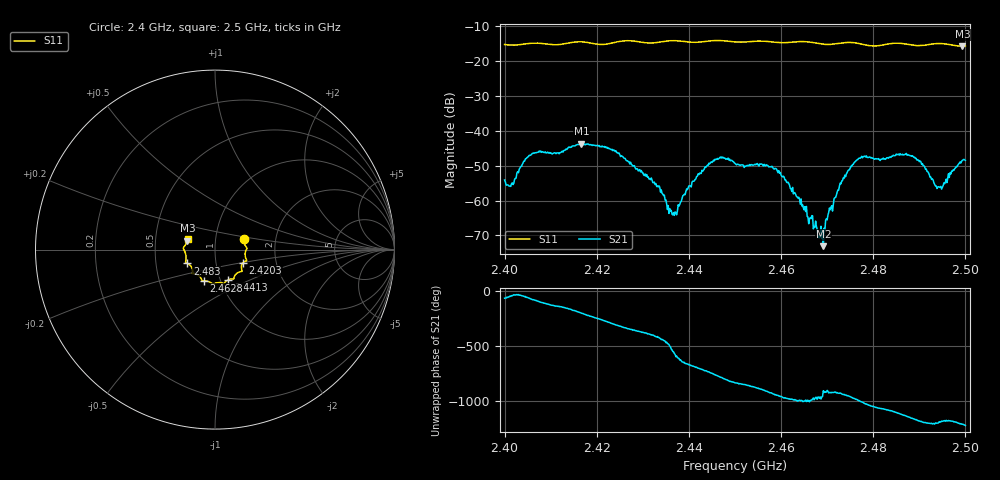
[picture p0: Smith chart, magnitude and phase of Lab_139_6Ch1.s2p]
# Hz S RI R 50
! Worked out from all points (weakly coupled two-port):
!   601 points, 2.4 GHz to 2.5 GHz, reference 50 ohm
!   highest |S21| = -43.74 dB at 2.4167 GHz (marker M1); lowest = -73.1 dB at 2.4692 GHz (marker M2)
!   lowest |S11| = -15.8 dB at 2.4993 GHz (marker M3), VSWR 1.39, Z = 36.5 + j3.71 ohm
!   |S11| at or under -10 dB: start of sweep to end of sweep
!   S12 and S22 are empty: the file has one direction only
!   S11 on the Smith chart (normalised r, x): 2.4 GHz: 1.37, +0.16; 2.4203 GHz: 1.35, -0.21; 2.4413 GHz: 1.09, -0.38; 2.4628 GHz: 0.83, -0.30; 2.483 GHz: 0.72, -0.11; 2.5 GHz: 0.73, +0.09
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2.4e9  0.1609 0.0571  0.000871 -0.00176  0 0  0 0
2.4015e9  0.1625 0.0406  0.00134 -0.00111  0 0  0 0
2.405833e9  0.1777 0.0105  0.00136 -0.00437  0 0  0 0
2.416667e9  0.1763 -0.0613  -0.00609 0.00227  0 0  0 0
2.420333e9  0.1554 -0.074  -0.00207 0.00569  0 0  0 0
2.433333e9  0.108 -0.1484  0.000775 -0.00136  0 0  0 0
2.436833e9  0.1036 -0.1639  -0.00055 0.000273  0 0  0 0
2.441333e9  0.0744 -0.1681  0.00171 0.00104  0 0  0 0
2.446333e9  0.049 -0.1888  0.00234 -0.00313  0 0  0 0
2.45e9  0.0293 -0.1838  -0.00137 -0.00312  0 0  0 0
2.4585e9  -0.0262 -0.1827  -0.00222 0.00172  0 0  0 0
2.462833e9  -0.0628 -0.1748  2.88e-05 0.0013  0 0  0 0
2.466667e9  -0.0742 -0.1675  8.08e-06 0.000608  0 0  0 0
2.469167e9  -0.0854 -0.1497  -0.000221 2.22e-05  0 0  0 0
2.473e9  -0.1182 -0.1344  -0.0015 0.000874  0 0  0 0
2.476e9  -0.1249 -0.13  -0.000714 0.0035  0 0  0 0
2.483e9  -0.1547 -0.0769  0.00411 -0.000123  0 0  0 0
2.483333e9  -0.157 -0.0759  0.00404 -0.000224  0 0  0 0
2.488833e9  -0.1604 -0.0431  0.00047 -0.00411  0 0  0 0
2.494333e9  -0.1762 0.00772  -0.000475 -0.00148  0 0  0 0
2.499333e9  -0.154 0.0495  -0.00248 -0.00282  0 0  0 0
2.5e9  -0.1525 0.0585  -0.00297 -0.00231  0 0  0 0
